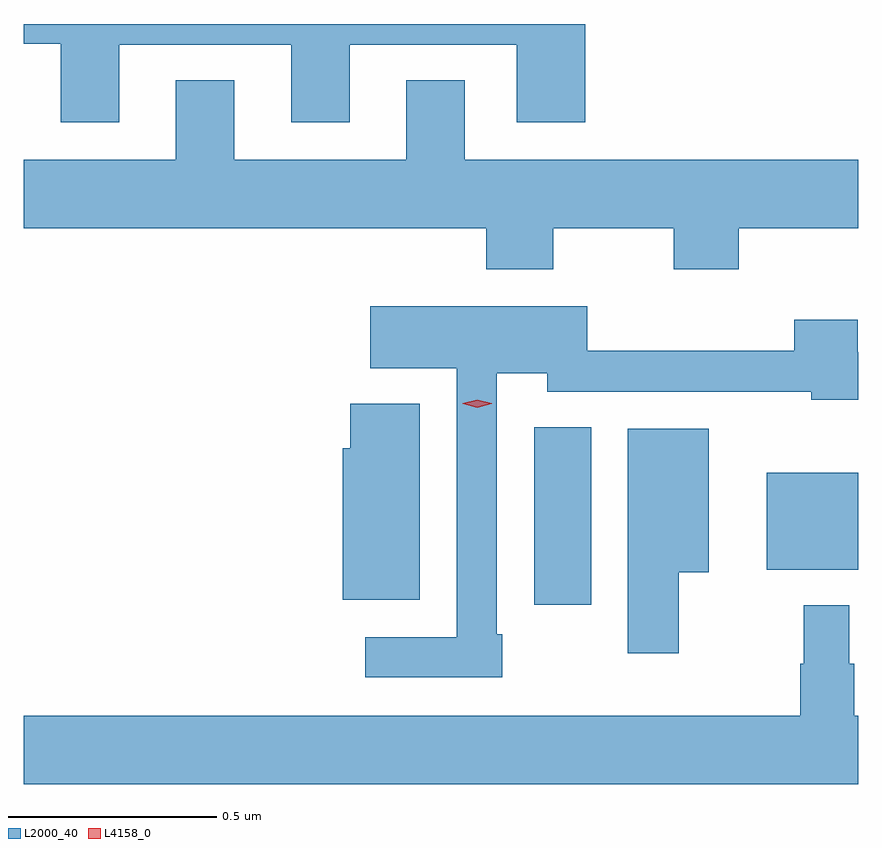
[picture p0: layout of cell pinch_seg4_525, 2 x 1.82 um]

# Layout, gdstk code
import gdstk
lib = gdstk.Library(unit=1e-6, precision=1e-09)
def R(c, l, rs):  # rectangles x0, y0, x1, y1
    for r in rs: c.add(gdstk.rectangle(r[:2], r[2:], *l))
def P(c, l, *ps):  # polygons
    for p in ps: c.add(gdstk.Polygon(p, *l))
L2000_40 = (2000, 40)
L4158_0 = (4158, 0)

pinch_seg4_525 = lib.new_cell('pinch_seg4_525')
R(pinch_seg4_525, L2000_40, [(987.869,751.962,988.006,752.387), (988.427,752.045,988.646,752.278)])
P(pinch_seg4_525, L2000_40, [(986.875,753.303),(987.287,753.303),(987.287,753.117),(987.427,753.117),(987.427,753.303),(987.827,753.303),(987.827,753.117),(987.992,753.117),(987.992,753.353),(986.646,753.353),(986.646,753.306),(986.735,753.306),(986.735,753.117),(986.875,753.117)],
  [(987.915,752.864),(988.204,752.864),(988.204,752.765),(988.359,752.765),(988.359,752.864),(988.646,752.864),(988.646,753.028),(987.703,753.028),(987.703,753.218),(987.563,753.218),(987.563,753.028),(987.151,753.028),(987.151,753.218),(987.011,753.218),(987.011,753.028),(986.646,753.028),(986.646,752.864),(987.755,752.864),(987.755,752.765),(987.915,752.765)],
  [(987.793,751.891),(987.78,751.891),(987.78,752.516),(987.9,752.516),(987.9,752.472),(988.533,752.472),(988.533,752.453),(988.646,752.453),(988.646,752.566),(988.645,752.566),(988.645,752.644),(988.493,752.644),(988.493,752.57),(987.996,752.57),(987.996,752.677),(987.477,752.677),(987.477,752.528),(987.684,752.528),(987.684,751.884),(987.465,751.884),(987.465,751.788),(987.793,751.788)],
  [(987.595,752.443),(987.428,752.443),(987.428,752.337),(987.41,752.337),(987.41,751.973),(987.595,751.973)],
  [(988.216,752.039),(988.288,752.039),(988.288,752.383),(988.094,752.383),(988.094,751.845),(988.216,751.845)],
  [(988.646,751.696),(988.636,751.696),(988.636,751.82),(988.624,751.82),(988.624,751.96),(988.515,751.96),(988.515,751.82),(988.507,751.82),(988.507,751.696),(986.646,751.696),(986.646,751.532),(988.646,751.532)])
P(pinch_seg4_525, L4158_0, [(987.733,752.433),(987.698,752.443),(987.698,752.443),(987.698,752.444),(987.733,752.453),(987.768,752.444),(987.768,752.443),(987.768,752.443)])

lib.write_gds('pinch_seg4_525.gds')
